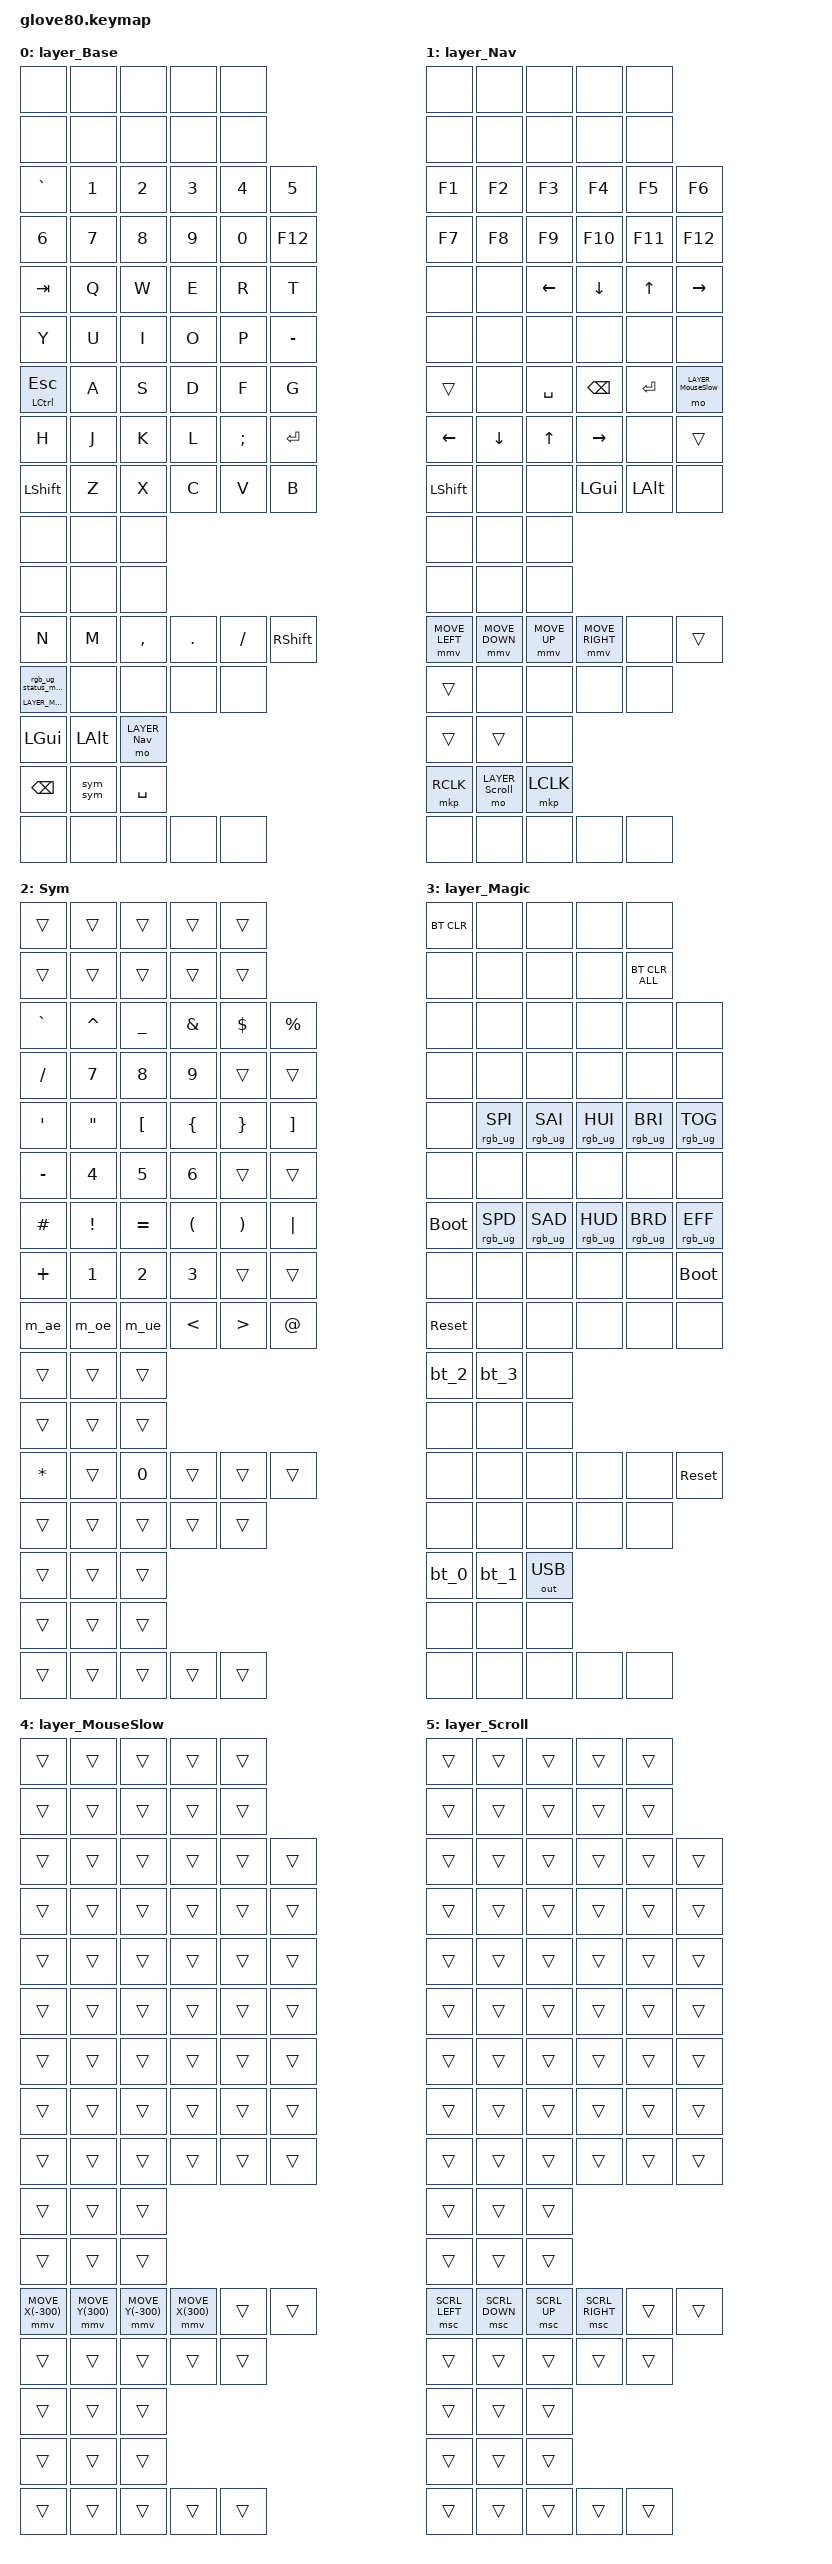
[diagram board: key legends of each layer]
#include <behaviors.dtsi>
#include <dt-bindings/zmk/bt.h>
#include <dt-bindings/zmk/keys.h>
#include <dt-bindings/zmk/outputs.h>

#define ZMK_POINTING_DEFAULT_MOVE_VAL 1200
#define ZMK_POINTING_DEFAULT_SCRL_VAL 20
#include <dt-bindings/zmk/pointing.h>

#include <dt-bindings/zmk/rgb.h>


/* ===== Layer ===== */

#define LAYER_Base    0
#define LAYER_Nav     1
#define LAYER_Sym     2
#define LAYER_Magic      3
#define LAYER_MouseSlow  4
#define LAYER_Scroll     5



/ {

    /* ===== Behaviors ===== */

    behaviors {

        /* Magic-Taste: halten = Magic-Layer, tippen = Akku- und Layer-Anzeige ueber die LEDs.
         * Verwendung im Keymap: &magic LAYER_Magic 0  (die 0 ist nur ein Platzhalter)
         * RGB_STATUS gibt es nur in MoErgos ZMK. Es steht fuer zwei Werte und muss deshalb
         * in einem eigenen Macro stecken, statt direkt an das Hold-Tap uebergeben zu werden.
         */
        magic: magic {
            compatible = "zmk,behavior-hold-tap";
            #binding-cells = <2>;
            flavor = "tap-preferred";
            tapping-term-ms = <200>;
            bindings = <&mo>, <&rgb_ug_status_macro>;
        };

        /* Esc/Ctrl: tippen = Esc, halten = Ctrl.
         * balanced: Ctrl+C geht sofort, ein schnelles "Esc, dann j" bleibt Esc + j.
         */
      esc_ctl: esc_ctl {
            compatible = "zmk,behavior-hold-tap";
            #binding-cells = <2>;
            flavor = "balanced";
            tapping-term-ms = <250>;
            retro-tap;
            bindings = <&kp>, <&kp>;
        };

        sym_sym: sym_sym { compatible = "zmk,behavior-tap-dance";
            #binding-cells = <0>;
            tapping-term-ms = <200>;
            bindings = <&mo LAYER_Sym>, <&tog LAYER_Sym>;
        };
        /* Bluetooth-Profile: einmal tippen = auswaehlen, zweimal tippen = Verbindung trennen */
        bt_0: bt_0 {
            compatible = "zmk,behavior-tap-dance";
            #binding-cells = <0>;
            tapping-term-ms = <200>;
            bindings = <&bt_select_0>, <&bt BT_DISC 0>;
        };
        bt_1: bt_1 {
            compatible = "zmk,behavior-tap-dance";
            #binding-cells = <0>;
            tapping-term-ms = <200>;
            bindings = <&bt_select_1>, <&bt BT_DISC 1>;
        };
        bt_2: bt_2 {
            compatible = "zmk,behavior-tap-dance";
            #binding-cells = <0>;
            tapping-term-ms = <200>;
            bindings = <&bt_select_2>, <&bt BT_DISC 2>;
        };
        bt_3: bt_3 {
            compatible = "zmk,behavior-tap-dance";
            #binding-cells = <0>;
            tapping-term-ms = <200>;
            bindings = <&bt_select_3>, <&bt BT_DISC 3>;
        };
    };

    /* ===== Combos ===== */

    combos {
        compatible = "zmk,combos";

        /* Zeige- + Mittelfinger auf der Home-Row = Sym-Layer (beide Combos, ein Layer).
         * J+K halten: links tippen.  D+F halten: rechts tippen.
         * Positionen: 37 = D, 38 = F, 41 = J, 42 = K
         */
        c_sym_r { timeout-ms = <30>; key-positions = <41 42>; bindings = <&mo LAYER_Sym>; layers = <LAYER_Base>; slow-release; };
        c_sym_l { timeout-ms = <30>; key-positions = <37 38>; bindings = <&mo LAYER_Sym>; layers = <LAYER_Base>; slow-release; };
    };

    /* ===== Macros ===== */

    macros {

        /* LED-Statusanzeige (Akku beider Haelften, aktiver Layer, Bluetooth-Profil) */
        rgb_ug_status_macro: rgb_ug_status_macro {
            compatible = "zmk,behavior-macro";
            #binding-cells = <0>;
            bindings = <&rgb_ug RGB_STATUS>;
        };

        m_ae: m_ae {
            compatible = "zmk,behavior-macro";
            #binding-cells = <0>;
            wait-ms = <30>;
            tap-ms = <30>;
            bindings = <&kp LA(U)>, <&kp A>;
        };

        m_oe: m_oe {
            compatible = "zmk,behavior-macro";
            #binding-cells = <0>;
            wait-ms = <30>;
            tap-ms = <30>;
            bindings = <&kp LA(U)>, <&kp O>;
        };

        m_ue: m_ue {
            compatible = "zmk,behavior-macro";
            #binding-cells = <0>;
            wait-ms = <30>;
            tap-ms = <30>;
            bindings = <&kp LA(U)>, <&kp U>;
        };
        
        /* Ausgabe auf Bluetooth stellen (sonst gewinnt USB, wenn ein Kabel steckt)
         * und dann das Profil auswaehlen
         */
        bt_select_0: bt_select_0 {
            compatible = "zmk,behavior-macro";
            #binding-cells = <0>;
            bindings = <&out OUT_BLE>, <&bt BT_SEL 0>;
        };
        bt_select_1: bt_select_1 {
            compatible = "zmk,behavior-macro";
            #binding-cells = <0>;
            bindings = <&out OUT_BLE>, <&bt BT_SEL 1>;
        };
        bt_select_2: bt_select_2 {
            compatible = "zmk,behavior-macro";
            #binding-cells = <0>;
            bindings = <&out OUT_BLE>, <&bt BT_SEL 2>;
        };
        bt_select_3: bt_select_3 {
            compatible = "zmk,behavior-macro";
            #binding-cells = <0>;
            bindings = <&out OUT_BLE>, <&bt BT_SEL 3>;
        };
    };


    /* ===== Keymap =====
     * Pro Reihe: erst linke Hand, dann rechte Hand.
     * Reihe 5 und 6 enthalten zusaetzlich die Daumentasten (je 3 links, 3 rechts).
     * Die Reihenfolge der Layer muss zu den LAYER_*-Nummern oben passen.
     */

    keymap {
        compatible = "zmk,keymap";

        /* ----- 0: Base ----- */
        layer_Base {
            bindings = <
                // Reihe 1
                /* links     */ &none  &none  &none  &none  &none
                /* rechts    */ &none  &none  &none  &none  &none

                // Reihe 2
                /* links     */ &kp GRAVE    &kp NUMBER_1 &kp NUMBER_2 &kp NUMBER_3 &kp NUMBER_4 &kp NUMBER_5
                /* rechts    */ &kp NUMBER_6 &kp NUMBER_7 &kp NUMBER_8 &kp NUMBER_9 &kp NUMBER_0 &kp F12

                // Reihe 3
                /* links     */ &kp TAB     &kp Q       &kp W       &kp E       &kp R       &kp T
                /* rechts    */ &kp Y       &kp U       &kp I       &kp O       &kp P       &kp MINUS

                // Reihe 4
                /* links     */ &esc_ctl LCTRL ESC     &kp A       &kp S       &kp D       &kp F       &kp G
                /* rechts    */ &kp H                  &kp J       &kp K       &kp L       &kp SEMI    &kp RET

                // Reihe 5 + obere Daumentasten
                /* links     */ &kp LSHIFT   &kp Z      &kp X       &kp C       &kp V       &kp B
                /* Daumen L  */ &none        &none      &none
                /* Daumen R  */ &none        &none      &none 
                /* rechts    */ &kp N        &kp M      &kp COMMA   &kp DOT     &kp FSLH    &kp RSHFT

                // Reihe 6 + untere Daumentasten
                /* links     */ &magic LAYER_Magic 0    &none            &none            &none  &none  
                /* Daumen L  */ &kp LGUI                &kp LALT         &mo LAYER_Nav 
                /* Daumen R  */ &kp BACKSPACE           &sym_sym         &kp SPACE 
                /* rechts    */ &none                   &none            &none            &none  &none
            >;
        };
        
        
        /* ----- 1: Nav (linken inneren Daumen halten) -----
         * links:  Edit-Tasten fuer die Arbeit mit Maus in der rechten Hand
         * rechts: Pfeile auf HJKL wie in Vim, Mausbewegung direkt darunter
         * G halten: langsame Mausbewegung fuer praezises Positionieren
         * rechter unterer Daumen: Rechtsklick, Scroll-Modus, Linksklick
         * &trans = durchlaessig, die Taste vom Base-Layer gilt weiter
         */
        layer_Nav {
            bindings = <
                // Reihe 1
                /* links     */ &none  &none  &none  &none  &none
                /* rechts    */ &none  &none  &none  &none  &none

                // Reihe 2
                /* links     */ &kp F1 &kp F2 &kp F3 &kp F4 &kp F5 &kp F6
                /* rechts    */ &kp F7 &kp F8 &kp F9 &kp F10 &kp F11 &kp F12

                // Reihe 3
                /* links     */ &none  &none  &kp LEFT_ARROW  &kp DOWN_ARROW  &kp UP_ARROW  &kp RIGHT_ARROW
                /* rechts    */ &none  &none  &none  &none  &none  &none

                // Reihe 4
                /* links     */ &trans           &none           &kp SPACE     &kp BSPC          &kp RET  &mo LAYER_MouseSlow
                /* rechts    */ &kp LEFT_ARROW  &kp DOWN_ARROW  &kp UP_ARROW  &kp RIGHT_ARROW   &none    &trans

                // Reihe 5 + obere Daumentasten
                /* links     */ &kp LSHFT  &none  &none  &kp LGUI  &kp LALT  &none
                /* Daumen L  */ &none   &none  &none
                /* Daumen R  */ &none   &none  &none
                /* rechts    */ &mmv MOVE_LEFT  &mmv MOVE_DOWN  &mmv MOVE_UP  &mmv MOVE_RIGHT  &none  &trans

                // Reihe 6 + untere Daumentasten
                /* links     */ &trans  &none   &none  &none  &none
                /* Daumen L  */ &trans  &trans  &none
                /* Daumen R  */ &mkp RCLK  &mo LAYER_Scroll  &mkp LCLK
                /* rechts    */ &none   &none   &none  &none  &none
            >;
        };

         /* ----- 2: Symbol layer ----- */
        layer_Sym {
            display-name = "Sym";
            bindings = <
                // Reihe 1
                /* links     */ &trans &trans &trans &trans &trans   
                /* rechts    */ &trans &trans &trans &trans &trans

                // Reihe 2
                /* links     */ &kp GRAVE &kp CARET &kp UNDERSCORE &kp AMPERSAND &kp DOLLAR &kp PERCENT
                /* rechts    */ &kp SLASH &kp NUMBER_7 &kp NUMBER_8 &kp NUMBER_9 &trans &trans
 
                // Reihe 3
                /* links     */ &kp APOSTROPHE &kp DOUBLE_QUOTES &kp LEFT_BRACKET &kp LEFT_BRACE &kp RIGHT_BRACE &kp RIGHT_BRACKET
                /* rechts    */ &kp MINUS &kp NUMBER_4 &kp NUMBER_5 &kp NUMBER_6 &trans &trans
                
                // Reihe 4
                /* links     */ &kp HASH &kp EXCL &kp EQUAL &kp LEFT_PARENTHESIS &kp RIGHT_PARENTHESIS  &kp PIPE
                /* rechts    */ &kp PLUS &kp NUMBER_1 &kp NUMBER_2 &kp NUMBER_3 &trans &trans
                
                // Reihe 5 + obere Daumentasten
                /* links     */ &m_ae  &m_oe  &m_ue &kp LESS_THAN &kp GREATER_THAN &kp AT_SIGN
                /* Daumen L  */ &trans &trans &trans   
                /* Daumen R  */ &trans &trans &trans  
                /* rechts    */ &kp ASTERISK &trans &kp NUMBER_0 &trans &trans &trans

                // Reihe 6 + untere Daumentasten
                /* links     */ &trans &trans &trans &trans &trans   
                /* Daumen L  */ &trans &trans &trans   
                /* Daumen R  */ &trans &trans &trans   
                /* rechts    */ &trans &trans &trans &trans &trans
            >;
        };

        /* ----- 3 Magic (Bluetooth, RGB, Bootloader) ----- */
        layer_Magic {
            bindings = <
                // Reihe 1
                /* links     */ &bt BT_CLR       &none            &none            &none            &none
                /* rechts    */ &none            &none            &none            &none            &bt BT_CLR_ALL

                // Reihe 2
                /* links     */ &none            &none            &none            &none            &none            &none
                /* rechts    */ &none            &none            &none            &none            &none            &none

                // Reihe 3
                /* links     */ &none            &rgb_ug RGB_SPI  &rgb_ug RGB_SAI  &rgb_ug RGB_HUI  &rgb_ug RGB_BRI  &rgb_ug RGB_TOG
                /* rechts    */ &none            &none            &none            &none            &none            &none

                // Reihe 4
                /* links     */ &bootloader      &rgb_ug RGB_SPD  &rgb_ug RGB_SAD  &rgb_ug RGB_HUD  &rgb_ug RGB_BRD  &rgb_ug RGB_EFF
                /* rechts    */ &none            &none            &none            &none            &none            &bootloader

                // Reihe 5 + obere Daumentasten
                /* links     */ &sys_reset       &none            &none            &none            &none            &none
                /* Daumen L  */ &bt_2            &bt_3            &none
                /* Daumen R  */ &none            &none            &none
                /* rechts    */ &none            &none            &none            &none            &none            &sys_reset

                // Reihe 6 + untere Daumentasten
                /* links     */ &none            &none            &none            &none            &none
                /* Daumen L  */ &bt_0            &bt_1            &out OUT_USB
                /* Daumen R  */ &none            &none            &none
                /* rechts    */ &none            &none            &none            &none            &none
            >;
        };

        /* ----- 4: Langsame Maus (G im Nav-Layer halten) ----- */
        layer_MouseSlow {
            bindings = <
                // Reihe 1
                /* links     */ &trans  &trans  &trans  &trans  &trans
                /* rechts    */ &trans  &trans  &trans  &trans  &trans

                // Reihe 2
                /* links     */ &trans  &trans  &trans  &trans  &trans  &trans
                /* rechts    */ &trans  &trans  &trans  &trans  &trans  &trans

                // Reihe 3
                /* links     */ &trans  &trans  &trans  &trans  &trans  &trans
                /* rechts    */ &trans  &trans  &trans  &trans  &trans  &trans

                // Reihe 4
                /* links     */ &trans  &trans  &trans  &trans  &trans  &trans
                /* rechts    */ &trans  &trans  &trans  &trans  &trans  &trans

                // Reihe 5 + obere Daumentasten
                /* links     */ &trans  &trans  &trans  &trans  &trans  &trans
                /* Daumen L  */ &trans  &trans  &trans
                /* Daumen R  */ &trans  &trans  &trans
                /* rechts    */ &mmv MOVE_X(-300)  &mmv MOVE_Y(300)  &mmv MOVE_Y(-300)  &mmv MOVE_X(300)  &trans  &trans

                // Reihe 6 + untere Daumentasten
                /* links     */ &trans  &trans  &trans  &trans  &trans
                /* Daumen L  */ &trans  &trans  &trans
                /* Daumen R  */ &trans  &trans  &trans
                /* rechts    */ &trans  &trans  &trans  &trans  &trans
            >;
        };

        /* ----- 5: Scroll (rechten mittleren Daumen im Nav-Layer halten) ----- */
        layer_Scroll {
            bindings = <
                // Reihe 1
                /* links     */ &trans  &trans  &trans  &trans  &trans
                /* rechts    */ &trans  &trans  &trans  &trans  &trans

                // Reihe 2
                /* links     */ &trans  &trans  &trans  &trans  &trans  &trans
                /* rechts    */ &trans  &trans  &trans  &trans  &trans  &trans

                // Reihe 3
                /* links     */ &trans  &trans  &trans  &trans  &trans  &trans
                /* rechts    */ &trans  &trans  &trans  &trans  &trans  &trans

                // Reihe 4
                /* links     */ &trans  &trans  &trans  &trans  &trans  &trans
                /* rechts    */ &trans  &trans  &trans  &trans  &trans  &trans

                // Reihe 5 + obere Daumentasten
                /* links     */ &trans  &trans  &trans  &trans  &trans  &trans
                /* Daumen L  */ &trans  &trans  &trans
                /* Daumen R  */ &trans  &trans  &trans
                /* rechts    */ &msc SCRL_LEFT  &msc SCRL_DOWN  &msc SCRL_UP  &msc SCRL_RIGHT  &trans  &trans

                // Reihe 6 + untere Daumentasten
                /* links     */ &trans  &trans  &trans  &trans  &trans
                /* Daumen L  */ &trans  &trans  &trans
                /* Daumen R  */ &trans  &trans  &trans
                /* rechts    */ &trans  &trans  &trans  &trans  &trans
            >;
        };

    };
};
